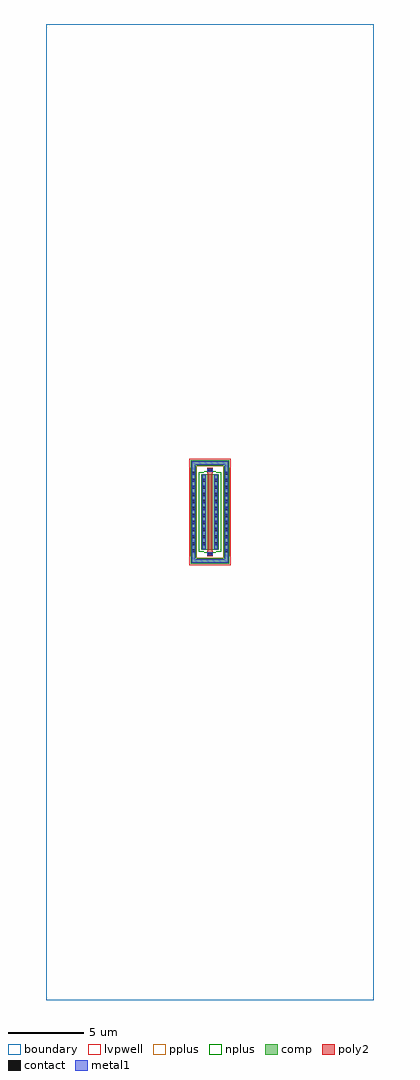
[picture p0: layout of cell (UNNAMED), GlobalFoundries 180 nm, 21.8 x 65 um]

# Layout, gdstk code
import gdstk
lib = gdstk.Library(unit=1e-6, precision=1e-09)
def R(c, l, rs):  # rectangles x0, y0, x1, y1
    for r in rs: c.add(gdstk.rectangle(r[:2], r[2:], *l))
def A(c, l, x, y, w, h, nx, ny, dx, dy):  # array of equal rectangles
    R(c, l, [(x+i*dx, y+j*dy, x+i*dx+w, y+j*dy+h) for i in range(nx) for j in range(ny)])
boundary = (0, 0)
comp = (22, 0)
poly2 = (30, 0)
pplus = (31, 0)
nplus = (32, 0)
contact = (33, 0)
metal1 = (34, 0)
lvpwell = (204, 0)

c__unnamed_ = lib.new_cell('(UNNAMED)')
R(c__unnamed_, boundary, [(-10.9,-32.5,10.9,32.5)])
R(c__unnamed_, comp, [(-1.27,-3.43,1.27,-3.07), (-1.27,-3.07,-0.91,3.07), (0.91,-3.07,1.27,3.07), (-0.58,-2.5,0.58,2.5), (-1.27,3.07,1.27,3.43)])
R(c__unnamed_, poly2, [(-0.18,-2.96,0.18,-2.6), (-0.14,-2.6,0.14,2.6), (-0.18,2.6,0.18,2.96)])
R(c__unnamed_, pplus, [(-1.29,-3.45,1.29,-3.05), (-1.29,-3.05,-0.88,-2.945), (0.88,-3.05,1.29,-2.945), (-1.3,-2.945,-0.88,2.945), (0.88,-2.945,1.3,2.945), (-1.29,2.945,-0.88,3.05), (0.88,2.945,1.29,3.05), (-1.29,3.05,1.29,3.45)])
R(c__unnamed_, nplus, [(-0.37,-2.73,0.37,-2.66), (-0.74,-2.66,0.74,2.66), (-0.37,2.66,0.37,2.73)])
A(c__unnamed_, contact, -1.2, -2.695, 0.22, 0.22, 1, 12, 0, 0.47)
A(c__unnamed_, contact, 0.98, -2.695, 0.22, 0.22, 1, 12, 0, 0.47)
A(c__unnamed_, contact, -0.51, -2.225, 0.22, 0.22, 1, 10, 0, 0.47)
A(c__unnamed_, contact, 0.29, -2.225, 0.22, 0.22, 1, 10, 0, 0.47)
R(c__unnamed_, contact, [(-0.11,-2.89,0.11,-2.67), (-0.11,2.67,0.11,2.89)])
R(c__unnamed_, metal1, [(-1.205,-3.365,1.205,-3.135), (-1.205,-3.135,-0.975,3.135), (0.975,-3.135,1.205,3.135), (-0.17,-2.895,0.17,-2.665), (-0.515,-2.49,-0.285,2.49), (0.285,-2.49,0.515,2.49), (-0.17,2.665,0.17,2.895), (-1.205,3.135,1.205,3.365)])
R(c__unnamed_, lvpwell, [(-1.39,-3.55,1.39,3.55)])

lib.write_gds('_UNNAMED_.gds')
